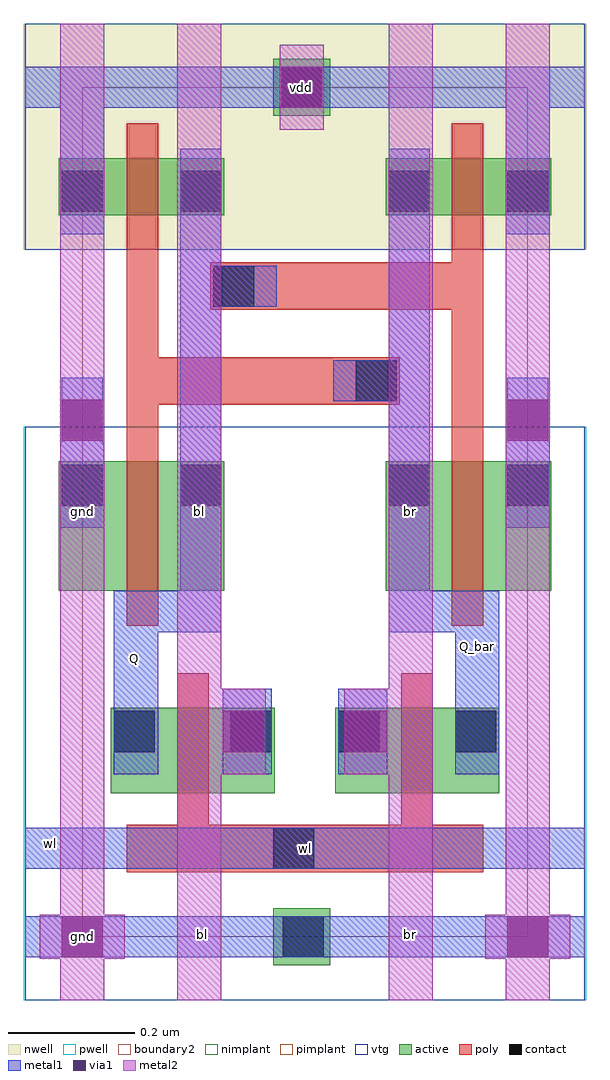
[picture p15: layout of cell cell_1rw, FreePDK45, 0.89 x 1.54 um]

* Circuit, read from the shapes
.subckt cell_1rw Q Q_bar bl br gnd vdd wl
M1 Q Q_bar gnd gnd nfet w=0.205u l=0.05u
M2 bl wl Q gnd nfet w=0.135u l=0.05u
M3 Q_bar wl br gnd nfet w=0.135u l=0.05u
M4 gnd Q Q_bar gnd nfet w=0.205u l=0.05u
M5 Q Q_bar vdd vdd pfet w=0.09u l=0.05u
M6 vdd Q Q_bar vdd pfet w=0.09u l=0.05u
.ends

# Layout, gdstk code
import gdstk
lib = gdstk.Library(unit=1e-6, precision=5e-10)
def R(c, l, rs):  # rectangles x0, y0, x1, y1
    for r in rs: c.add(gdstk.rectangle(r[:2], r[2:], *l))
active = (1, 0)
pwell = (2, 0)
nwell = (3, 0)
nimplant = (4, 0)
pimplant = (5, 0)
vtg = (6, 0)
poly = (9, 0)
contact = (10, 0)
metal1 = (11, 0)
via1 = (12, 0)
metal2 = (13, 0)
boundary2 = (239, 0)

cell_1rw = lib.new_cell('cell_1rw')
R(cell_1rw, active, [(0.3025,-0.045,0.3925,0.045), (0.3025,-0.045,0.3925,0.045), (0.045,0.2275,0.12,0.3625), (0.045,0.2275,0.12,0.3625), (0.045,0.2275,0.305,0.3625), (0.23,0.2275,0.305,0.3625), (0.23,0.2275,0.305,0.3625), (0.4,0.2275,0.475,0.3625), (0.4,0.2275,0.475,0.3625), (0.4,0.2275,0.66,0.3625), (0.585,0.2275,0.66,0.3625), (0.585,0.2275,0.66,0.3625), (0.045,0.2875,0.12,0.3625), (0.23,0.2875,0.305,0.3625), (0.4,0.2875,0.475,0.3625), (0.585,0.2875,0.66,0.3625), (-0.0375,0.5475,0.0375,0.7525), (-0.0375,0.5475,0.0375,0.7525), (-0.0375,0.5475,0.225,0.7525), (0.15,0.5475,0.225,0.7525), (0.15,0.5475,0.225,0.7525), (0.48,0.5475,0.555,0.7525), (0.48,0.5475,0.555,0.7525), (0.48,0.5475,0.7425,0.7525), (0.6675,0.5475,0.7425,0.7525), (0.6675,0.5475,0.7425,0.7525), (-0.0375,0.6775,0.0375,0.7525), (0.15,0.6775,0.225,0.7525), (0.48,0.6775,0.555,0.7525), (0.6675,0.6775,0.7425,0.7525), (-0.0375,1.1425,0.0375,1.2175), (-0.0375,1.1425,0.0375,1.2325), (-0.0375,1.1425,0.0375,1.2325), (-0.0375,1.1425,0.225,1.2325), (0.15,1.1425,0.225,1.2175), (0.15,1.1425,0.225,1.2325), (0.15,1.1425,0.225,1.2325), (0.48,1.1425,0.555,1.2175), (0.48,1.1425,0.555,1.2325), (0.48,1.1425,0.555,1.2325), (0.48,1.1425,0.7425,1.2325), (0.6675,1.1425,0.7425,1.2175), (0.6675,1.1425,0.7425,1.2325), (0.6675,1.1425,0.7425,1.2325), (0.3025,1.3,0.3925,1.39), (0.3025,1.3,0.3925,1.39)])
R(cell_1rw, pwell, [(-0.0925,-0.1,0.7975,0.8075), (0.2475,-0.1,0.4475,0.1), (0.2475,-0.1,0.4475,0.1), (-0.01,0.1725,0.36,0.4175), (0.345,0.1725,0.715,0.4175), (-0.0925,0.4925,0.28,0.8075), (0.425,0.4925,0.7975,0.8075)])
R(cell_1rw, nwell, [(-0.0925,1.0875,0.7975,1.445), (-0.0925,1.0875,0.28,1.2875), (0.425,1.0875,0.7975,1.2875), (0.2475,1.245,0.4475,1.445), (0.2475,1.245,0.4475,1.445)])
R(cell_1rw, nimplant, [(0.045,0.2275,0.305,0.3625), (0.4,0.2275,0.66,0.3625), (-0.035,0.5475,0.225,0.7525), (0.48,0.5475,0.74,0.7525), (0.3025,1.3,0.3925,1.39), (0.3025,1.3,0.3925,1.39)])
R(cell_1rw, pimplant, [(0.3025,-0.045,0.3925,0.045), (-0.035,1.1425,0.225,1.2325), (0.48,1.1425,0.74,1.2325)])
R(cell_1rw, vtg, [(-0.09,-0.1,0.795,0.8075), (-0.01,0.1725,0.36,0.4175), (0.345,0.1725,0.715,0.4175), (-0.09,0.4925,0.28,0.8075), (0.425,0.4925,0.795,0.8075), (-0.09,1.0875,0.795,1.445), (-0.09,1.0875,0.28,1.2875), (0.425,1.0875,0.795,1.2875)])
R(cell_1rw, poly, [(0.07,0.1025,0.635,0.1775), (0.2975,0.1025,0.3725,0.1775), (0.15,0.1725,0.2,0.4175), (0.15,0.1725,0.2,0.2275), (0.505,0.1725,0.555,0.4175), (0.505,0.1725,0.555,0.2275), (0.15,0.3625,0.2,0.4175), (0.505,0.3625,0.555,0.4175), (0.07,0.4925,0.12,0.5475), (0.07,0.4925,0.12,0.8075), (0.585,0.4925,0.635,0.5475), (0.585,0.4925,0.635,0.8075), (0.07,0.7525,0.12,0.8075), (0.585,0.7525,0.635,0.8075), (0.07,0.8075,0.12,1.0875), (0.07,0.8075,0.12,1.0875), (0.585,0.8075,0.635,1.0875), (0.585,0.8075,0.635,1.0875), (0.07,0.8425,0.5025,0.9175), (0.4275,0.8425,0.5025,0.9175), (0.4275,0.8425,0.5025,0.9175), (0.2025,0.9925,0.635,1.0675), (0.2025,0.9925,0.2775,1.0675), (0.2025,0.9925,0.2775,1.0675), (0.07,1.0875,0.12,1.1425), (0.07,1.0875,0.12,1.2875), (0.585,1.0875,0.635,1.1425), (0.585,1.0875,0.635,1.2875), (0.07,1.2325,0.12,1.2875), (0.585,1.2325,0.635,1.2875)])
R(cell_1rw, contact, [(0.3175,-0.0325,0.3825,0.0325), (0.3175,-0.0325,0.3825,0.0325), (0.3025,0.1075,0.3675,0.1725), (0.05,0.2925,0.115,0.3575), (0.235,0.2925,0.3,0.3575), (0.405,0.2925,0.47,0.3575), (0.59,0.2925,0.655,0.3575), (-0.0325,0.6825,0.0325,0.7475), (0.155,0.6825,0.22,0.7475), (0.485,0.6825,0.55,0.7475), (0.6725,0.6825,0.7375,0.7475), (0.4325,0.8475,0.4975,0.9125), (0.4325,0.8475,0.4975,0.9125), (0.2075,0.9975,0.2725,1.0625), (0.2075,0.9975,0.2725,1.0625), (-0.0325,1.1475,0.0325,1.2125), (0.155,1.1475,0.22,1.2125), (0.485,1.1475,0.55,1.2125), (0.6725,1.1475,0.7375,1.2125), (0.315,1.3125,0.38,1.3775)])
R(cell_1rw, metal1, [(-0.09,-0.0325,0.795,0.0325), (-0.0675,-0.0325,0.0675,0.0325), (-0.0675,-0.0325,0.0675,0.0325), (0.285,-0.0325,0.42,0.0325), (0.285,-0.0325,0.42,0.0325), (0.6375,-0.0325,0.7725,0.0325), (0.6375,-0.0325,0.7725,0.0325), (0.6375,-0.0325,0.7725,0.0325), (0.6375,-0.0325,0.7725,0.0325), (-0.09,0.1075,0.795,0.1725), (-0.09,0.1075,0.795,0.1725), (-0.09,0.1075,0.795,0.1725), (-0.09,0.1075,0.795,0.1725), (0.2675,0.1075,0.4025,0.1725), (-0.085,0.11,-0.0325,0.1725), (0.62,0.11,0.6725,0.1725), (0.05,0.2575,0.12,0.5475), (0.05,0.2575,0.115,0.3925), (0.2225,0.2575,0.2875,0.3925), (0.235,0.2575,0.3,0.3925), (0.405,0.2575,0.47,0.3925), (0.4175,0.2575,0.4825,0.3925), (0.59,0.2575,0.66,0.5475), (0.59,0.2575,0.655,0.3925), (0.05,0.4825,0.22,0.5475), (0.155,0.4825,0.22,1.2225), (0.485,0.4825,0.55,1.1125), (0.485,0.4825,0.66,0.5475), (-0.035,0.6475,0.035,0.7825), (-0.035,0.6475,0.035,0.7825), (-0.03,0.6475,0.035,0.7825), (0.155,0.6475,0.22,0.7825), (0.485,0.6475,0.55,0.7825), (0.67,0.6475,0.74,0.7825), (0.67,0.6475,0.74,0.7825), (0.67,0.6475,0.74,0.7825), (0.67,0.6475,0.74,0.7825), (0.67,0.6475,0.74,0.7825), (0.67,0.6475,0.74,0.7825), (0.67,0.6475,0.735,0.7825), (-0.0325,0.75,0.0325,0.885), (-0.0325,0.75,0.0325,0.885), (-0.0325,0.75,0.0325,0.885), (-0.0325,0.75,0.0325,0.885), (-0.0325,0.75,0.0325,0.885), (-0.0325,0.75,0.0325,0.885), (0.6725,0.75,0.7375,0.885), (0.6725,0.75,0.7375,0.885), (0.6725,0.75,0.7375,0.885), (0.6725,0.75,0.7375,0.885), (0.6725,0.75,0.7375,0.885), (0.6725,0.75,0.7375,0.885), (0.6725,0.75,0.7375,0.885), (0.6725,0.75,0.7375,0.885), (0.6725,0.75,0.7375,0.885), (0.6725,0.75,0.7375,0.885), (0.6725,0.75,0.7375,0.885), (0.6725,0.75,0.7375,0.885), (0.6725,0.75,0.7375,0.885), (0.6725,0.75,0.7375,0.885), (0.6725,0.75,0.7375,0.885), (0.6725,0.75,0.7375,0.885), (0.6725,0.75,0.7375,0.885), (0.6725,0.75,0.7375,0.885), (0.6725,0.75,0.7375,0.885), (0.6725,0.75,0.7375,0.885), (0.6725,0.75,0.7375,0.885), (0.6725,0.75,0.7375,0.885), (0.6725,0.75,0.7375,0.885), (0.6725,0.75,0.7375,0.885), (0.3975,0.8475,0.5325,0.9125), (0.3975,0.8475,0.5325,0.9125), (0.1725,0.9975,0.3075,1.0625), (0.1725,0.9975,0.3075,1.0625), (-0.035,1.1125,0.035,1.3125), (-0.03,1.1125,0.035,1.2475), (0.155,1.1125,0.22,1.2475), (0.485,1.1125,0.55,1.2475), (0.67,1.1125,0.74,1.3125), (0.67,1.1125,0.74,1.3125), (0.67,1.1125,0.735,1.2475), (-0.09,1.3125,0.795,1.3775)])
R(cell_1rw, via1, [(-0.0325,-0.0325,0.0325,0.0325), (-0.0325,-0.0325,0.0325,0.0325), (0.6725,-0.0325,0.7375,0.0325), (0.6725,-0.0325,0.7375,0.0325), (0.6725,-0.0325,0.7375,0.0325), (0.6725,-0.0325,0.7375,0.0325), (0.2225,0.2925,0.2875,0.3575), (0.4175,0.2925,0.4825,0.3575), (-0.0325,0.785,0.0325,0.85), (-0.0325,0.785,0.0325,0.85), (-0.0325,0.785,0.0325,0.85), (-0.0325,0.785,0.0325,0.85), (-0.0325,0.785,0.0325,0.85), (-0.0325,0.785,0.0325,0.85), (0.6725,0.785,0.7375,0.85), (0.6725,0.785,0.7375,0.85), (0.6725,0.785,0.7375,0.85), (0.6725,0.785,0.7375,0.85), (0.6725,0.785,0.7375,0.85), (0.6725,0.785,0.7375,0.85), (0.6725,0.785,0.7375,0.85), (0.6725,0.785,0.7375,0.85), (0.6725,0.785,0.7375,0.85), (0.6725,0.785,0.7375,0.85), (0.6725,0.785,0.7375,0.85), (0.6725,0.785,0.7375,0.85), (0.6725,0.785,0.7375,0.85), (0.6725,0.785,0.7375,0.85), (0.6725,0.785,0.7375,0.85), (0.6725,0.785,0.7375,0.85), (0.6725,0.785,0.7375,0.85), (0.6725,0.785,0.7375,0.85), (0.6725,0.785,0.7375,0.85), (0.6725,0.785,0.7375,0.85), (0.6725,0.785,0.7375,0.85), (0.6725,0.785,0.7375,0.85), (0.6725,0.785,0.7375,0.85), (0.6725,0.785,0.7375,0.85), (0.315,1.3125,0.38,1.3775)])
R(cell_1rw, metal2, [(-0.035,-0.1,0.035,1.445), (-0.035,-0.1,0.035,1.445), (-0.035,-0.1,0.035,1.445), (0.15,-0.1,0.22,1.445), (0.15,-0.1,0.22,1.445), (0.15,-0.1,0.22,1.445), (0.15,-0.1,0.22,1.445), (0.485,-0.1,0.555,1.445), (0.485,-0.1,0.555,1.445), (0.485,-0.1,0.555,1.445), (0.485,-0.1,0.555,1.445), (0.67,-0.1,0.74,1.445), (-0.0675,-0.035,0.0675,0.035), (-0.0675,-0.035,0.0675,0.035), (-0.0675,-0.035,0.0675,0.035), (0.6375,-0.035,0.7725,0.035), (0.6375,-0.035,0.7725,0.035), (0.6375,-0.035,0.7725,0.035), (0.6375,-0.035,0.7725,0.035), (0.4925,-0.0325,0.55,0.0275), (0.67,-0.0325,0.74,1.3775), (-0.03,-0.03,0.03,0.0275), (0.1575,-0.025,0.2125,0.0275), (0.675,-0.025,0.735,0.0325), (0.22,0.2575,0.29,0.3925), (0.415,0.2575,0.485,0.3925), (-0.035,0.75,0.035,0.885), (-0.035,0.75,0.035,0.885), (-0.035,0.75,0.035,0.885), (-0.035,0.75,0.035,0.885), (-0.035,0.75,0.035,0.885), (-0.035,0.75,0.035,0.885), (0.67,0.75,0.74,0.885), (0.67,0.75,0.74,0.885), (0.67,0.75,0.74,0.885), (0.67,0.75,0.74,0.885), (0.67,0.75,0.74,0.885), (0.67,0.75,0.74,0.885), (0.67,0.75,0.74,0.885), (0.67,0.75,0.74,0.885), (0.67,0.75,0.74,0.885), (0.67,0.75,0.74,0.885), (0.67,0.75,0.74,0.885), (0.67,0.75,0.74,0.885), (0.67,0.75,0.74,0.885), (0.67,0.75,0.74,0.885), (0.67,0.75,0.74,0.885), (0.67,0.75,0.74,0.885), (0.67,0.75,0.74,0.885), (0.67,0.75,0.74,0.885), (0.67,0.75,0.74,0.885), (0.67,0.75,0.74,0.885), (0.67,0.75,0.74,0.885), (0.67,0.75,0.74,0.885), (0.67,0.75,0.74,0.885), (0.67,0.75,0.74,0.885), (0.3125,1.2775,0.3825,1.4125), (0.3125,1.2775,0.3825,1.4125), (0.3125,1.2775,0.3825,1.4125), (0.3125,1.2775,0.3825,1.4125)])
R(cell_1rw, boundary2, [(0,0,0.705,1.345)])
cell_1rw.add(gdstk.Label('bl', (0.19,0.003), layer=13, texttype=0))
cell_1rw.add(gdstk.Label('br', (0.52,0.003), layer=13, texttype=0))
cell_1rw.add(gdstk.Label('vdd', (0.3475,1.345), layer=13, texttype=0))
cell_1rw.add(gdstk.Label('gnd', (0,0), layer=13, texttype=0))
cell_1rw.add(gdstk.Label('bl', (0.185,0.6725), layer=13, texttype=0))
cell_1rw.add(gdstk.Label('br', (0.52,0.6725), layer=13, texttype=0))
cell_1rw.add(gdstk.Label('vdd', (0.3475,1.345), layer=13, texttype=0))
cell_1rw.add(gdstk.Label('gnd', (0,0.6725), layer=13, texttype=0))
cell_1rw.add(gdstk.Label('Q_bar', (0.625,0.46), layer=11, texttype=0))
cell_1rw.add(gdstk.Label('Q', (0.0825,0.44), layer=11, texttype=0))
cell_1rw.add(gdstk.Label('wl', (-0.05,0.147), layer=11, texttype=0))
cell_1rw.add(gdstk.Label('wl', (0.3525,0.14), layer=11, texttype=0))

lib.write_gds('cell_1rw.gds')
